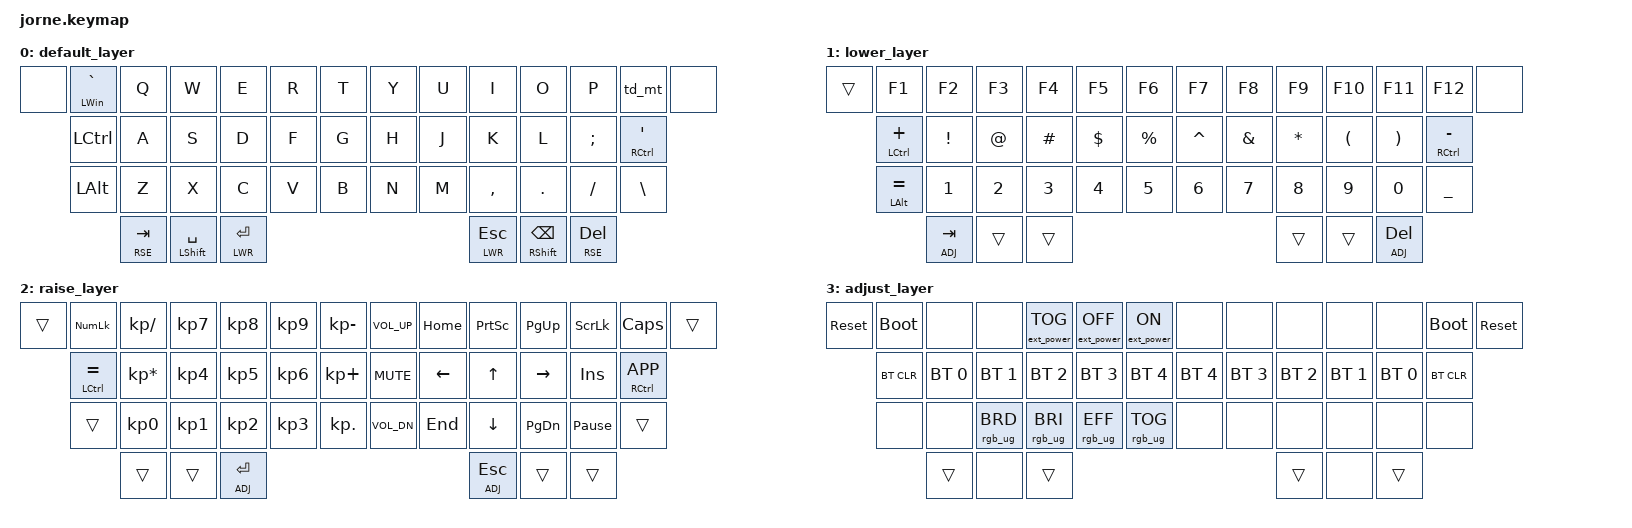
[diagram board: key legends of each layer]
/*
 * Copyright (c) 2020 The ZMK Contributors
 *
 * SPDX-License-Identifier: MIT
 */

#include <behaviors.dtsi>
#include <dt-bindings/zmk/keys.h>
#include <dt-bindings/zmk/bt.h>
#include <dt-bindings/zmk/rgb.h>
#include <dt-bindings/zmk/ext_power.h>

#define DEF 0
#define LWR 1
#define RSE 2
#define ADJ 3

/ {
    behaviors {
        td_mt: tap_dance_0 {
            compatible = "zmk,behavior-tap-dance";
            label = "TAP_DANCE_0";
            #binding-cells = <0>;
            tapping-term-ms = <200>;
            bindings = <&mt RWIN RBKT>, <&kp LBKT>, <&kp N3>;
        };
    };

        keymap {
                compatible = "zmk,keymap";

                default_layer {
// -----------------------------------------------------------------------------------------
// |  GUI |   ~  |  Q  |  W  |  E  |  R  |  T  |   |  Y  |  U   |  I  |  O  |  P  |  [   | GUI/] |
//        | CTRL |  A  |  S  |  D  |  F  |  G  |   |  H  |  J   |  K  |  L  |  ;  |CTRL/'|
//        | LALT |  Z  |  X  |  C  |  V  |  B  |   |  N  |  M   |  ,  |  .  |  /  | RALT |
//                           | RSE | SPC | LWR |   | LWR | BKSP | RSE |
                        bindings = <
   &none  &mt LWIN GRAVE &kp Q &kp W &kp E &kp R &kp T &kp Y         &kp U  &kp I     &kp O   &kp P    &td_mt &none
          &kp LCTRL      &kp A &kp S &kp D &kp F &kp G &kp H         &kp J  &kp K     &kp L   &kp SEMI &mt RCTRL SQT
          &kp LALT       &kp Z &kp X &kp C &kp V &kp B &kp N         &kp M  &kp COMMA &kp DOT &kp FSLH &kp BSLH
                            &lt RSE TAB &mt LSHFT SPACE &lt LWR RET &lt LWR ESC &mt RSHFT BSPC &lt RSE DEL
                        >;
                };
                lower_layer {
// -----------------------------------------------------------------------------------------
// |     |  F1 |  F2 |  F3 |  F4 |  F5 |   |  F6 |  F7 |  F8 |  F9 | F10 | F11 | F12 |    |
//       |  +  |  !  |  @  |  #  |  $  |  %  |   |  ^  |  &  |  *  |  (  |  )  |  -  |
//       |  =  |  1  |  2  |  3  |  4  |  5  |   |  6  |  7  |  8  |  9  |  0  |  _  |
//                    | GUI |     | SPC |   | ENT |     | ALT |
                        bindings = <
   &trans &kp F1         &kp F2   &kp F3 &kp F4   &kp F5   &kp F6           &kp F7    &kp F8   &kp F9   &kp F10  &kp F11  &kp F12         &none
          &mt LCTRL PLUS &kp EXCL &kp AT &kp HASH &kp DLLR &kp PRCNT        &kp CARET &kp AMPS &kp STAR &kp LPAR &kp RPAR &mt RCTRL MINUS
          &mt LALT EQUAL &kp N1   &kp N2 &kp N3   &kp N4   &kp N5           &kp N6    &kp N7   &kp N8   &kp N9   &kp N0   &kp UNDER
                                              &lt ADJ TAB &trans &trans   &trans &trans &lt ADJ DEL
                        >;
                };

                raise_layer {
// -----------------------------------------------------------------------------------------
// |     | NMLK |  /  |  7  |  8  |  9  |  -  |   | VOLU| HOME| PRSC| PGUP| SCLK| CLCK|     |
//       | CTRL |  *  |  4  |  5  |  6  |  +  |   | MUT | LEFT|  UP | RGHT| INS | APP |
//       |      |  0  |  1  |  2  |  3  |  .  |   | VOLD| END | DOWN| PGDN| PAUS|     |
//                          |     |     | ADJ |   | ADJ |     |     |
                        bindings = <
   &trans &kp KP_NUM      &kp KP_SLASH    &kp KP_N7 &kp KP_N8 &kp KP_N9 &kp KP_MINUS        &kp C_VOL_UP &kp HOME &kp PSCRN &kp PG_UP &kp SLCK &kp CAPS &trans
          &mt LCTRL EQUAL &kp KP_MULTIPLY &kp KP_N4 &kp KP_N5 &kp KP_N6 &kp KP_PLUS         &kp C_MUTE   &kp LEFT &kp UP    &kp RIGHT &kp INS  &mt RCTRL K_APP
          &trans          &kp KP_N0       &kp KP_N1 &kp KP_N2 &kp KP_N3 &kp KP_DOT          &kp C_VOL_DN &kp END  &kp DOWN  &kp PG_DN &kp PAUSE_BREAK &trans
                                                           &trans &trans &lt ADJ RET   &lt ADJ ESC &trans &trans
                        >;
                };
                adjust_layer {
// -----------------------------------------------------------------------------------------
// | RST | BLDR |     |       |EP_TOG |EP_OFF | EP_ON |   |     |     |     |     |     | BLDR | RST |
//       | BTCLR| BT0 | BT1   | BT2   | BT3   | BT4   |   | BT4 | BT3 | BT2 | BT1 | BT0 | BTCLR|
//       |      |     |RGB_BRD|RGB_BRI|RGB_EFF|RGB_TOG|   |     |     |     |     |     |      |
//                          |        |        |       |   |     |     |     |
                        bindings = <
   &sys_reset &bootloader  &none        &none            &ext_power EP_TOG  &ext_power EP_OFF  &ext_power EP_ON             &none        &none        &none        &none        &none         &bootloader &sys_reset
          &bt BT_CLR       &bt BT_SEL 0 &bt BT_SEL 1     &bt BT_SEL 2       &bt BT_SEL 3       &bt BT_SEL 4                 &bt BT_SEL 4 &bt BT_SEL 3 &bt BT_SEL 2 &bt BT_SEL 1 &bt BT_SEL 0  &bt BT_CLR
          &none            &none        &rgb_ug RGB_BRD  &rgb_ug RGB_BRI    &rgb_ug RGB_EFF    &rgb_ug RGB_TOG              &none        &none        &none        &none        &none         &none
                                                                                                 &trans &none &trans   &trans &none &trans
                        >;
                };
        };
};
